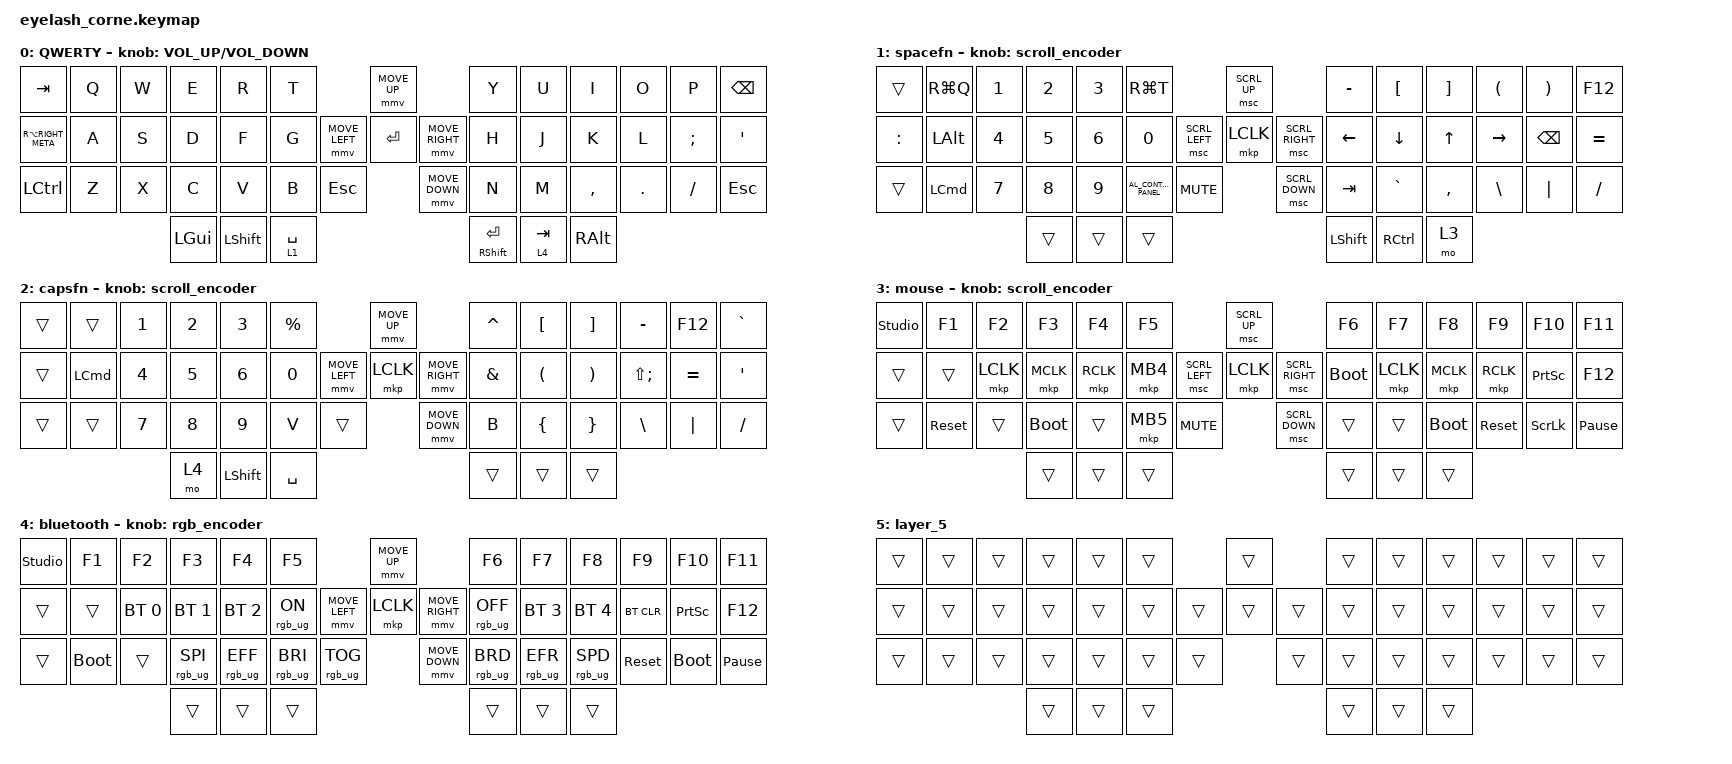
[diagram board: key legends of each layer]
#include <dt-bindings/zmk/mouse.h>
#include <input/processors.dtsi>
#include <behaviors.dtsi>
#include <dt-bindings/zmk/bt.h>
#include <dt-bindings/zmk/keys.h>
#include <dt-bindings/zmk/pointing.h>
#include <dt-bindings/zmk/rgb.h>

/*

   &mmv_input_listener {
       input-processors = <&zip_xy_scaler 4 1>;
   };

   &msc_input_listener {
       input-processors = <&zip_xy_scaler 2 1>;
   };

 */

#define ZMK_MOUSE_DEFAULT_MOVE_VAL 1200  // 600
#define ZMK_MOUSE_DEFAULT_SCRL_VAL 20    // 10

/ {
    behaviors {
        td0: td0 {
            compatible = "zmk,behavior-tap-dance";
            display-name = "Shift/Caps Lock Tap Dance";
            #binding-cells = <0>;
            bindings = <&kp LEFT_SHIFT>, <&kp CAPS>;
        };

        homerowmod: homerowmod {
            compatible = "zmk,behavior-hold-tap";
            label = "HOMEROWMOD";
            bindings = <&kp>, <&kp>;

            #binding-cells = <2>;
            tapping-term-ms = <200>;
            flavor = "hold-preferred";
            hold-trigger-key-positions = <45>;
        };
    };

    rgb_encoder: rgb_encoder {
        compatible = "zmk,behavior-sensor-rotate";
        #sensor-binding-cells = <0>;
        bindings = <&rgb_ug RGB_BRI>, <&rgb_ug RGB_BRD>;
    };

    scroll_encoder: scroll_encoder {
        compatible = "zmk,behavior-sensor-rotate";
        #sensor-binding-cells = <0>;
        bindings = <&msc SCRL_DOWN>, <&msc SCRL_UP>;

        tap-ms = <30>;
    };

    combos {
        compatible = "zmk,combos";

        cl_sq_br {
            bindings = <&kp RIGHT_BRACKET>;
            key-positions = <8 9>;
        };

        op_sq_br {
            bindings = <&kp LEFT_BRACKET>;
            key-positions = <3 4>;
        };

        cl_r_br {
            bindings = <&kp RIGHT_PARENTHESIS>;
            key-positions = <23 24>;
        };

        op_r_br {
            bindings = <&kp LEFT_PARENTHESIS>;
            key-positions = <16 17>;
        };

        op_c_br {
            bindings = <&kp LEFT_BRACE>;
            key-positions = <31 32>;
        };

        cl_c_br {
            bindings = <&kp RIGHT_BRACE>;
            key-positions = <37 38>;
        };
    };

    macros {
        equal_and_colmn: equal_and_colmn {
            compatible = "zmk,behavior-macro";
            #binding-cells = <0>;
            bindings = <&kp COLON &kp EQUAL>;
            label = "EQUAL_AND_COLMN";
        };
    };

    keymap {
        compatible = "zmk,keymap";

        default_layer {
            display-name = "QWERTY";
            bindings = <
&kp TAB             &kp Q  &kp W  &kp E     &kp R           &kp T                                      &mmv MOVE_UP                     &kp Y                  &kp U      &kp I          &kp O    &kp P     &kp BSPC
&kp RA(RIGHT_META)  &kp A  &kp S  &kp D     &kp F           &kp G                      &mmv MOVE_LEFT  &kp ENTER       &mmv MOVE_RIGHT  &kp H                  &kp J      &kp K          &kp L    &kp SEMI  &kp SQT
&kp LCTRL           &kp Z  &kp X  &kp C     &kp V           &kp B        &kp ESCAPE                    &mmv MOVE_DOWN                   &kp N                  &kp M      &kp COMMA      &kp DOT  &kp FSLH  &kp ESC
                                  &kp LGUI  &kp LEFT_SHIFT  &lt 1 SPACE                                                                 &mt RIGHT_SHIFT ENTER  &lt 4 TAB  &kp RIGHT_ALT
            >;

            sensor-bindings = <&inc_dec_kp C_VOLUME_UP C_VOLUME_DOWN>;
        };

        lower_layer {
            display-name = "spacefn";
            bindings = <
&trans     &kp RG(Q)     &kp N1  &kp N2  &kp N3  &kp RG(T)                                             &msc SCRL_UP                     &kp MINUS       &kp LBKT   &kp RBKT      &kp LEFT_PARENTHESIS  &kp RIGHT_PARENTHESIS  &kp F12
&kp COLON  &kp LEFT_ALT  &kp N4  &kp N5  &kp N6  &kp N0                                &msc SCRL_LEFT  &mkp LCLK       &msc SCRL_RIGHT  &kp LEFT        &kp DOWN   &kp UP_ARROW  &kp RIGHT             &kp BSPC               &kp EQUAL
&trans     &kp LCMD      &kp N7  &kp N8  &kp N9  &kp C_AL_CONTROL_PANEL  &kp C_MUTE                    &msc SCRL_DOWN                   &kp TAB         &kp GRAVE  &kp COMMA     &kp BACKSLASH         &kp PIPE               &kp SLASH
                                 &trans  &trans  &trans                                                                                 &kp LEFT_SHIFT  &kp RCTRL  &mo 3
            >;

            sensor-bindings = <&scroll_encoder>;
        };

        raise_layer {
            display-name = "capsfn";
            bindings = <
&trans  &trans            &kp N1  &kp N2  &kp N3     &kp PERCENT                            &mmv MOVE_UP                     &kp CARET      &kp LBKT              &kp RBKT               &kp MINUS     &kp F12    &kp GRAVE
&trans  &kp LEFT_COMMAND  &kp N4  &kp N5  &kp N6     &kp N0                 &mmv MOVE_LEFT  &mkp LCLK       &mmv MOVE_RIGHT  &kp AMPERSAND  &kp LEFT_PARENTHESIS  &kp RIGHT_PARENTHESIS  &kp LS(SEMI)  &kp EQUAL  &kp SQT
&trans  &trans            &kp N7  &kp N8  &kp N9     &kp V        &trans                    &mmv MOVE_DOWN                   &kp B          &kp LEFT_BRACE        &kp RIGHT_BRACE        &kp BSLH      &kp PIPE   &kp FSLH
                                  &mo 4   &kp LSHFT  &kp SPACE                                                               &trans         &trans                &trans
            >;

            sensor-bindings = <&scroll_encoder>;
        };

        layer_3 {
            display-name = "mouse";
            bindings = <
&studio_unlock  &kp F1      &kp F2     &kp F3       &kp F4     &kp F5                                  &msc SCRL_UP                     &kp F6       &kp F7     &kp F8       &kp F9      &kp F10          &kp F11
&trans          &trans      &mkp LCLK  &mkp MCLK    &mkp RCLK  &mkp MB4                &msc SCRL_LEFT  &mkp LCLK       &msc SCRL_RIGHT  &bootloader  &mkp LCLK  &mkp MCLK    &mkp RCLK   &kp PRINTSCREEN  &kp F12
&trans          &sys_reset  &trans     &bootloader  &trans     &mkp MB5  &kp C_MUTE                    &msc SCRL_DOWN                   &trans       &trans     &bootloader  &sys_reset  &kp SCROLLLOCK   &kp PAUSE_BREAK
                                       &trans       &trans     &trans                                                                   &trans       &trans     &trans
            >;

            sensor-bindings = <&scroll_encoder>;
        };

        layer_4 {
            display-name = "bluetooth";
            bindings = <
&studio_unlock  &kp F1       &kp F2        &kp F3           &kp F4           &kp F5                                              &mmv MOVE_UP                     &kp F6           &kp F7           &kp F8           &kp F9      &kp F10          &kp F11
&trans          &trans       &bt BT_SEL 0  &bt BT_SEL 1     &bt BT_SEL 2     &rgb_ug RGB_ON                      &mmv MOVE_LEFT  &mkp LCLK       &mmv MOVE_RIGHT  &rgb_ug RGB_OFF  &bt BT_SEL 3     &bt BT_SEL 4     &bt BT_CLR  &kp PRINTSCREEN  &kp F12
&trans          &bootloader  &trans        &rgb_ug RGB_SPI  &rgb_ug RGB_EFF  &rgb_ug RGB_BRI  &rgb_ug RGB_TOG                    &mmv MOVE_DOWN                   &rgb_ug RGB_BRD  &rgb_ug RGB_EFR  &rgb_ug RGB_SPD  &sys_reset  &bootloader      &kp PAUSE_BREAK
                                           &trans           &trans           &trans                                                                               &trans           &trans           &trans
            >;

            sensor-bindings = <&rgb_encoder>;
        };

        layer_5 {
            bindings = <
&trans  &trans  &trans  &trans  &trans  &trans                    &trans          &trans  &trans  &trans  &trans  &trans  &trans
&trans  &trans  &trans  &trans  &trans  &trans            &trans  &trans  &trans  &trans  &trans  &trans  &trans  &trans  &trans
&trans  &trans  &trans  &trans  &trans  &trans  &trans            &trans          &trans  &trans  &trans  &trans  &trans  &trans
                        &trans  &trans  &trans                                    &trans  &trans  &trans
            >;
        };
    };
};
